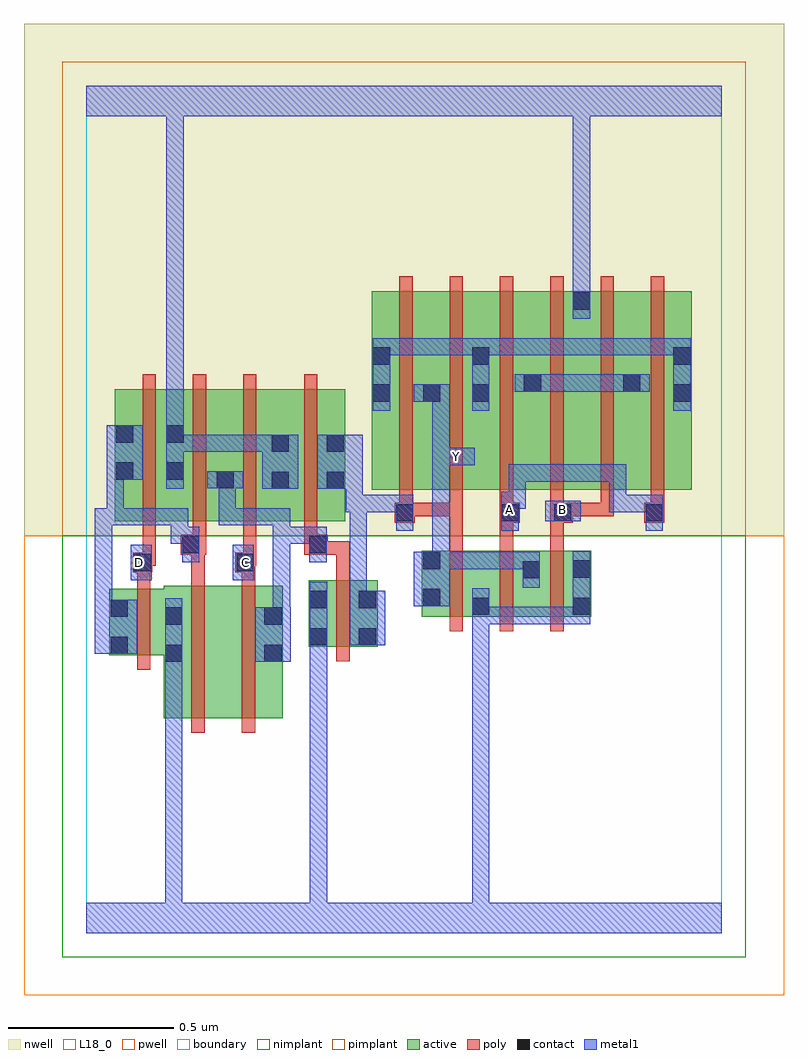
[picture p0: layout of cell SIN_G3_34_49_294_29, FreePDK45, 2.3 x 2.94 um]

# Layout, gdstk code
import gdstk
lib = gdstk.Library(unit=1e-6, precision=1e-09)
def R(c, l, rs):  # rectangles x0, y0, x1, y1
    for r in rs: c.add(gdstk.rectangle(r[:2], r[2:], *l))
def A(c, l, x, y, w, h, nx, ny, dx, dy):  # array of equal rectangles
    R(c, l, [(x+i*dx, y+j*dy, x+i*dx+w, y+j*dy+h) for i in range(nx) for j in range(ny)])
active = (1, 0)
pwell = (2, 0)
nwell = (3, 0)
nimplant = (4, 0)
pimplant = (5, 0)
poly = (9, 0)
contact = (10, 0)
metal1 = (11, 0)
L18_0 = (18, 0)
boundary = (235, 0)

sin_g3_34_49_294_29 = lib.new_cell('SIN_G3_34_49_294_29')
A(sin_g3_34_49_294_29, active, 1.162, 0.956, 0.06, 0.2, 3, 1, 0.152, 0)
R(sin_g3_34_49_294_29, active, [(0.234,0.65,0.414,1.05), (0.414,0.65,0.594,1.05), (0.534,0.65,0.594,1.05), (0.234,0.816,0.294,1.04), (0.07,0.84,0.13,1.04), (0.07,0.84,0.294,1.04), (0.672,0.866,0.732,1.066), (0.672,0.866,0.88,1.066), (0.82,0.866,0.88,1.066), (1.014,0.956,1.074,1.156), (1.014,0.956,1.222,1.156), (1.162,0.956,1.374,1.156), (1.314,0.956,1.526,1.156), (0.086,1.244,0.146,1.644), (0.086,1.244,0.298,1.644), (0.238,1.244,0.45,1.644), (0.39,1.244,0.616,1.644), (0.556,1.244,0.782,1.644), (0.722,1.244,0.782,1.644), (0.556,1.338,0.616,1.644), (0.39,1.34,0.45,1.644), (0.862,1.34,1.074,1.94), (0.862,1.34,0.922,1.844), (1.014,1.34,1.074,1.94), (1.014,1.34,1.222,1.94), (1.162,1.34,1.222,1.844), (1.162,1.34,1.378,1.94), (1.318,1.34,1.378,1.844), (1.318,1.34,1.526,1.94), (1.466,1.34,1.526,1.94), (1.466,1.34,1.678,1.94), (1.618,1.34,1.83,1.94), (1.618,1.34,1.678,1.844), (1.77,1.34,1.83,1.94), (0.238,1.366,0.298,1.644)])
R(sin_g3_34_49_294_29, pwell, [(-0.188,-0.188,2.108,1.2)])
R(sin_g3_34_49_294_29, nwell, [(-0.188,1.2,2.108,2.748)])
R(sin_g3_34_49_294_29, nimplant, [(-0.072,-0.072,1.992,1.2)])
R(sin_g3_34_49_294_29, pimplant, [(-0.072,1.2,1.992,2.632)])
A(sin_g3_34_49_294_29, poly, 1.098, 0.912, 0.04, 0.288, 3, 1, 0.152, 0)
A(sin_g3_34_49_294_29, poly, 0.17, 1.2, 0.04, 0.488, 3, 1, 0.152, 0)
A(sin_g3_34_49_294_29, poly, 0.946, 1.26, 0.04, 0.076, 6, 1, 0.152, 0)
A(sin_g3_34_49_294_29, poly, 0.946, 1.296, 0.04, 0.688, 6, 1, 0.152, 0)
R(sin_g3_34_49_294_29, poly, [(0.318,0.606,0.358,1.094), (0.47,0.606,0.51,1.094), (0.154,0.796,0.194,1.084), (0.756,0.822,0.796,1.11), (0.154,1.044,0.194,1.13), (0.318,1.054,0.358,1.184), (0.47,1.054,0.51,1.13), (0.756,1.07,0.796,1.184), (0.14,1.09,0.2,1.15), (0.45,1.09,0.51,1.15), (0.16,1.11,0.2,1.15), (0.16,1.11,0.21,1.15), (0.17,1.11,0.21,1.24), (0.47,1.11,0.51,1.15), (0.47,1.11,0.514,1.15), (0.474,1.11,0.514,1.24), (0.286,1.144,0.362,1.204), (0.318,1.144,0.358,1.184), (0.318,1.144,0.358,1.184), (0.658,1.144,0.73,1.204), (0.69,1.144,0.73,1.184), (0.69,1.144,0.796,1.184), (1.098,1.16,1.138,1.3), (1.25,1.16,1.29,1.28), (1.402,1.16,1.442,1.28), (0.322,1.164,0.362,1.24), (0.658,1.164,0.698,1.24), (0.658,1.2,0.698,1.688), (0.932,1.24,0.992,1.3), (1.25,1.24,1.31,1.3), (1.25,1.24,1.29,1.28), (1.25,1.24,1.29,1.28), (1.402,1.24,1.47,1.3), (1.686,1.24,1.746,1.3), (0.952,1.26,1.138,1.3), (1.098,1.26,1.138,1.3), (1.098,1.26,1.138,1.3), (1.098,1.26,1.138,1.3), (1.098,1.26,1.138,1.3), (1.098,1.26,1.138,1.3), (1.402,1.26,1.442,1.3), (1.402,1.26,1.442,1.3), (1.402,1.26,1.594,1.3), (1.554,1.26,1.594,1.3), (1.554,1.26,1.594,1.3), (1.554,1.26,1.594,1.3)])
R(sin_g3_34_49_294_29, contact, [(0.238,0.82,0.29,0.872), (0.538,0.82,0.59,0.872), (0.074,0.844,0.126,0.896), (0.676,0.87,0.728,0.922), (0.824,0.87,0.876,0.922), (0.238,0.932,0.29,0.984), (0.538,0.932,0.59,0.984), (0.074,0.956,0.126,1.008), (1.166,0.962,1.218,1.014), (1.47,0.962,1.522,1.014), (0.676,0.982,0.728,1.034), (0.824,0.982,0.876,1.034), (1.018,0.988,1.07,1.04), (1.318,1.072,1.37,1.124), (1.47,1.074,1.522,1.126), (0.144,1.094,0.196,1.146), (0.454,1.094,0.506,1.146), (1.018,1.1,1.07,1.152), (0.29,1.148,0.342,1.2), (0.674,1.148,0.726,1.2), (0.936,1.244,0.988,1.296), (1.254,1.244,1.306,1.296), (1.414,1.244,1.466,1.296), (1.69,1.244,1.742,1.296), (0.56,1.342,0.612,1.394), (0.726,1.342,0.778,1.394), (0.394,1.344,0.446,1.396), (0.09,1.37,0.142,1.422), (0.242,1.37,0.294,1.422), (0.56,1.454,0.612,1.506), (0.726,1.454,0.778,1.506), (0.09,1.482,0.142,1.534), (0.242,1.482,0.294,1.534), (0.866,1.606,0.918,1.658), (1.018,1.606,1.07,1.658), (1.166,1.606,1.218,1.658), (1.774,1.606,1.826,1.658), (1.322,1.636,1.374,1.688), (1.622,1.636,1.674,1.688), (0.866,1.718,0.918,1.77), (1.166,1.718,1.218,1.77), (1.774,1.718,1.826,1.77), (1.47,1.884,1.522,1.936)])
R(sin_g3_34_49_294_29, metal1, [(0,0,1.92,0.092), (0.238,0.04,0.29,0.092), (0.238,0.04,0.29,0.092), (0.238,0.04,0.29,0.092), (0.238,0.04,0.29,0.092), (0.238,0.04,0.29,0.092), (0.238,0.04,0.29,0.092), (0.238,0.04,0.29,0.844), (0.676,0.04,0.728,0.092), (0.676,0.04,0.728,0.092), (0.676,0.04,0.728,0.092), (0.676,0.04,0.728,0.092), (0.676,0.04,0.728,0.092), (0.676,0.04,0.728,0.092), (0.676,0.04,0.728,0.092), (0.676,0.04,0.728,0.092), (0.676,0.04,0.728,0.092), (0.676,0.04,0.728,0.092), (0.676,0.04,0.728,0.092), (0.676,0.04,0.728,0.092), (0.676,0.04,0.728,0.092), (0.676,0.04,0.728,0.092), (0.676,0.04,0.728,0.092), (0.676,0.04,0.728,0.092), (0.676,0.04,0.728,0.894), (1.166,0.04,1.218,0.092), (1.166,0.04,1.218,0.092), (1.166,0.04,1.218,0.092), (1.166,0.04,1.218,0.092), (1.166,0.04,1.218,0.092), (1.166,0.04,1.218,0.092), (1.166,0.04,1.218,0.092), (1.166,0.04,1.218,0.092), (1.166,0.04,1.218,0.092), (1.166,0.04,1.218,0.092), (1.166,0.04,1.218,0.092), (1.166,0.04,1.218,0.092), (1.166,0.04,1.218,0.092), (1.166,0.04,1.218,0.092), (1.166,0.04,1.218,0.092), (1.166,0.04,1.218,0.092), (1.166,0.04,1.218,0.986), (0.238,0.792,0.29,0.844), (0.238,0.792,0.29,0.844), (0.238,0.792,0.29,0.844), (0.238,0.792,0.29,0.844), (0.238,0.792,0.29,0.844), (0.238,0.792,0.29,0.844), (0.238,0.792,0.29,1.012), (0.51,0.82,0.618,0.984), (0.676,0.842,0.728,1.062), (0.026,0.844,0.154,1.008), (0.796,0.87,0.904,1.034), (0.564,0.932,0.616,0.984), (0.564,0.932,0.616,0.984), (0.564,0.932,0.616,1.228), (1.166,0.934,1.218,0.986), (1.166,0.934,1.218,0.986), (1.166,0.934,1.328,0.986), (1.166,0.934,1.218,1.042), (1.276,0.934,1.328,0.986), (1.276,0.934,1.522,0.986), (1.47,0.934,1.522,0.986), (1.47,0.934,1.522,0.986), (1.47,0.934,1.522,1.154), (0.026,0.956,0.078,1.284), (0.796,0.982,0.848,1.034), (0.796,0.982,0.848,1.034), (0.796,0.982,0.848,1.324), (0.99,0.988,1.098,1.152), (1.318,1.044,1.37,1.152), (0.134,1.066,0.198,1.174), (0.442,1.066,0.506,1.174), (1.046,1.1,1.098,1.152), (1.046,1.1,1.098,1.152), (1.046,1.1,1.208,1.152), (1.046,1.1,1.098,1.466), (1.156,1.1,1.208,1.152), (1.156,1.1,1.208,1.152), (1.156,1.1,1.208,1.152), (1.156,1.1,1.37,1.152), (0.29,1.12,0.342,1.228), (0.674,1.12,0.726,1.228), (0.256,1.176,0.308,1.284), (0.256,1.176,0.342,1.228), (0.564,1.176,0.616,1.228), (0.564,1.176,0.616,1.228), (0.564,1.176,0.726,1.228), (0.564,1.176,0.616,1.284), (0.936,1.216,0.988,1.324), (1.254,1.216,1.306,1.334), (1.69,1.216,1.742,1.324), (0.026,1.232,0.078,1.284), (0.026,1.232,0.078,1.284), (0.026,1.232,0.114,1.284), (0.062,1.232,0.114,1.284), (0.062,1.232,0.114,1.284), (0.062,1.232,0.308,1.284), (0.062,1.232,0.114,1.422), (0.4,1.232,0.452,1.284), (0.4,1.232,0.452,1.284), (0.4,1.232,0.452,1.284), (0.4,1.232,0.616,1.284), (0.4,1.232,0.452,1.396), (1.386,1.244,1.494,1.306), (0.784,1.272,0.836,1.394), (0.784,1.272,0.848,1.324), (0.796,1.272,0.848,1.324), (0.796,1.272,0.848,1.324), (0.796,1.272,0.988,1.324), (1.58,1.272,1.632,1.324), (1.58,1.272,1.632,1.324), (1.58,1.272,1.742,1.324), (1.58,1.272,1.632,1.416), (1.254,1.282,1.328,1.334), (1.276,1.282,1.328,1.416), (0.242,1.342,0.294,1.562), (0.532,1.342,0.64,1.506), (0.698,1.342,0.836,1.506), (0.366,1.344,0.474,1.396), (1.276,1.364,1.512,1.416), (1.46,1.364,1.512,1.416), (1.46,1.364,1.512,1.416), (1.46,1.364,1.512,1.416), (1.46,1.364,1.632,1.416), (0.062,1.37,0.17,1.534), (1.046,1.414,1.098,1.658), (1.046,1.414,1.174,1.466), (0.242,1.454,0.294,1.506), (0.242,1.454,0.294,1.506), (0.242,1.454,0.452,1.506), (0.4,1.454,0.452,1.506), (0.4,1.454,0.452,1.506), (0.4,1.454,0.452,1.506), (0.4,1.454,0.584,1.506), (0.242,1.51,0.294,1.562), (0.242,1.51,0.294,1.562), (0.242,1.51,0.294,1.562), (0.242,1.51,0.294,1.562), (0.242,1.51,0.294,2.52), (0.866,1.578,0.918,1.798), (1.166,1.578,1.218,1.798), (1.774,1.578,1.826,1.798), (0.99,1.606,1.098,1.658), (1.046,1.606,1.098,1.658), (1.046,1.606,1.098,1.658), (1.294,1.636,1.402,1.688), (1.35,1.636,1.512,1.688), (1.46,1.636,1.512,1.688), (1.46,1.636,1.512,1.688), (1.46,1.636,1.512,1.688), (1.46,1.636,1.632,1.688), (1.58,1.636,1.632,1.688), (1.58,1.636,1.646,1.688), (1.594,1.636,1.702,1.688), (0.866,1.746,0.988,1.798), (0.936,1.746,0.988,1.798), (0.936,1.746,1.098,1.798), (1.046,1.746,1.098,1.798), (1.046,1.746,1.098,1.798), (1.046,1.746,1.098,1.798), (1.046,1.746,1.218,1.798), (1.166,1.746,1.328,1.798), (1.276,1.746,1.328,1.798), (1.276,1.746,1.328,1.798), (1.276,1.746,1.328,1.798), (1.276,1.746,1.512,1.798), (1.46,1.746,1.512,1.798), (1.46,1.746,1.512,1.798), (1.46,1.746,1.512,1.798), (1.46,1.746,1.632,1.798), (1.58,1.746,1.632,1.798), (1.58,1.746,1.632,1.798), (1.58,1.746,1.632,1.798), (1.58,1.746,1.826,1.798), (1.774,1.746,1.826,1.798), (1.774,1.746,1.826,1.798), (1.47,1.856,1.522,1.964), (1.47,1.912,1.522,2.52), (0,2.468,1.92,2.56), (0.242,2.468,0.294,2.52), (0.242,2.468,0.294,2.52), (0.242,2.468,0.294,2.52), (0.242,2.468,0.294,2.52), (0.242,2.468,0.294,2.52), (0.242,2.468,0.294,2.52), (0.242,2.468,0.294,2.52), (0.242,2.468,0.294,2.52), (0.242,2.468,0.294,2.52), (0.242,2.468,0.294,2.52), (0.242,2.468,0.294,2.52), (0.242,2.468,0.294,2.52), (1.47,2.468,1.522,2.52), (1.47,2.468,1.522,2.52), (1.47,2.468,1.522,2.52), (1.47,2.468,1.522,2.52), (1.47,2.468,1.522,2.52), (1.47,2.468,1.522,2.52), (1.47,2.468,1.522,2.52), (1.47,2.468,1.522,2.52), (1.47,2.468,1.522,2.52), (1.47,2.468,1.522,2.52), (1.47,2.468,1.522,2.52), (1.47,2.468,1.522,2.52)])
R(sin_g3_34_49_294_29, L18_0, [(0,0,1.92,0.092), (0.238,0.04,0.29,0.092), (0.238,0.04,0.29,0.092), (0.238,0.04,0.29,0.092), (0.238,0.04,0.29,0.092), (0.238,0.04,0.29,0.092), (0.238,0.04,0.29,0.092), (0.238,0.04,0.29,0.844), (0.676,0.04,0.728,0.092), (0.676,0.04,0.728,0.092), (0.676,0.04,0.728,0.092), (0.676,0.04,0.728,0.092), (0.676,0.04,0.728,0.092), (0.676,0.04,0.728,0.092), (0.676,0.04,0.728,0.092), (0.676,0.04,0.728,0.092), (0.676,0.04,0.728,0.092), (0.676,0.04,0.728,0.092), (0.676,0.04,0.728,0.092), (0.676,0.04,0.728,0.092), (0.676,0.04,0.728,0.092), (0.676,0.04,0.728,0.092), (0.676,0.04,0.728,0.092), (0.676,0.04,0.728,0.092), (0.676,0.04,0.728,0.894), (1.166,0.04,1.218,0.092), (1.166,0.04,1.218,0.092), (1.166,0.04,1.218,0.092), (1.166,0.04,1.218,0.092), (1.166,0.04,1.218,0.092), (1.166,0.04,1.218,0.092), (1.166,0.04,1.218,0.092), (1.166,0.04,1.218,0.092), (1.166,0.04,1.218,0.092), (1.166,0.04,1.218,0.092), (1.166,0.04,1.218,0.092), (1.166,0.04,1.218,0.092), (1.166,0.04,1.218,0.092), (1.166,0.04,1.218,0.092), (1.166,0.04,1.218,0.092), (1.166,0.04,1.218,0.092), (1.166,0.04,1.218,0.986), (0.238,0.792,0.29,0.844), (0.238,0.792,0.29,0.844), (0.238,0.792,0.29,0.844), (0.238,0.792,0.29,0.844), (0.238,0.792,0.29,0.844), (0.238,0.792,0.29,0.844), (0.238,0.792,0.29,1.012), (0.676,0.842,0.728,1.062), (1.166,0.934,1.218,0.986), (1.166,0.934,1.218,0.986), (1.166,0.934,1.218,1.042), (1.166,0.934,1.328,0.986), (1.276,0.934,1.328,0.986), (1.276,0.934,1.522,0.986), (1.47,0.934,1.522,0.986), (1.47,0.934,1.522,0.986), (1.47,0.934,1.522,1.154), (0.99,0.988,1.098,1.152), (1.318,1.044,1.37,1.152), (0.134,1.066,0.198,1.174), (0.442,1.066,0.506,1.174), (0.134,1.094,0.186,1.146), (0.454,1.094,0.506,1.146), (1.046,1.1,1.098,1.152), (1.046,1.1,1.098,1.152), (1.046,1.1,1.098,1.466), (1.046,1.1,1.208,1.152), (1.156,1.1,1.208,1.152), (1.156,1.1,1.208,1.152), (1.156,1.1,1.208,1.152), (1.156,1.1,1.37,1.152), (1.254,1.216,1.306,1.334), (1.69,1.216,1.742,1.324), (1.386,1.244,1.494,1.306), (1.254,1.254,1.306,1.306), (1.414,1.254,1.466,1.306), (1.58,1.272,1.632,1.324), (1.58,1.272,1.632,1.324), (1.58,1.272,1.742,1.324), (1.58,1.272,1.632,1.416), (1.254,1.282,1.328,1.334), (1.276,1.282,1.328,1.416), (0.242,1.342,0.294,1.562), (0.532,1.342,0.64,1.506), (1.276,1.364,1.512,1.416), (1.46,1.364,1.512,1.416), (1.46,1.364,1.512,1.416), (1.46,1.364,1.512,1.416), (1.46,1.364,1.632,1.416), (1.046,1.414,1.174,1.466), (1.046,1.414,1.098,1.658), (1.094,1.414,1.146,1.466), (0.242,1.454,0.294,1.506), (0.242,1.454,0.294,1.506), (0.242,1.454,0.452,1.506), (0.4,1.454,0.452,1.506), (0.4,1.454,0.452,1.506), (0.4,1.454,0.452,1.506), (0.4,1.454,0.584,1.506), (0.242,1.51,0.294,1.562), (0.242,1.51,0.294,1.562), (0.242,1.51,0.294,1.562), (0.242,1.51,0.294,1.562), (0.242,1.51,0.294,2.52), (0.99,1.606,1.098,1.658), (1.046,1.606,1.098,1.658), (1.046,1.606,1.098,1.658), (1.47,1.856,1.522,1.964), (1.47,1.912,1.522,2.52), (0,2.468,1.92,2.56), (0.242,2.468,0.294,2.52), (0.242,2.468,0.294,2.52), (0.242,2.468,0.294,2.52), (0.242,2.468,0.294,2.52), (0.242,2.468,0.294,2.52), (0.242,2.468,0.294,2.52), (0.242,2.468,0.294,2.52), (0.242,2.468,0.294,2.52), (0.242,2.468,0.294,2.52), (0.242,2.468,0.294,2.52), (0.242,2.468,0.294,2.52), (0.242,2.468,0.294,2.52), (1.47,2.468,1.522,2.52), (1.47,2.468,1.522,2.52), (1.47,2.468,1.522,2.52), (1.47,2.468,1.522,2.52), (1.47,2.468,1.522,2.52), (1.47,2.468,1.522,2.52), (1.47,2.468,1.522,2.52), (1.47,2.468,1.522,2.52), (1.47,2.468,1.522,2.52), (1.47,2.468,1.522,2.52), (1.47,2.468,1.522,2.52), (1.47,2.468,1.522,2.52)])
R(sin_g3_34_49_294_29, boundary, [(0,0,1.92,2.56)])
sin_g3_34_49_294_29.add(gdstk.Label('A', (1.28,1.28), layer=11, texttype=0))
sin_g3_34_49_294_29.add(gdstk.Label('B', (1.44,1.28), layer=11, texttype=0))
sin_g3_34_49_294_29.add(gdstk.Label('C', (0.48,1.12), layer=11, texttype=0))
sin_g3_34_49_294_29.add(gdstk.Label('D', (0.16,1.12), layer=11, texttype=0))
sin_g3_34_49_294_29.add(gdstk.Label('Y', (1.12,1.44), layer=11, texttype=0))

lib.write_gds('SIN_G3_34_49_294_29.gds')
